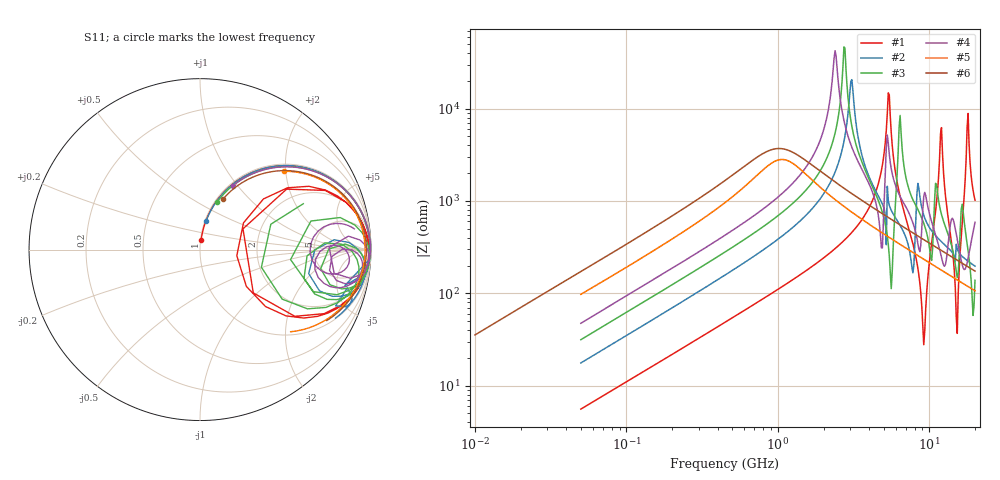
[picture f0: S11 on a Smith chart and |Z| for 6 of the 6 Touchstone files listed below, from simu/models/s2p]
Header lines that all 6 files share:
!These Parameters are Measured in Series Mode Connection
!  o--[Z]--o
!Port1  Port2
!  o-------o
# Hz S RI R 50
!Freq.(Hz) S11(Real) S11(Imag) S21(Real) S21(Imag) S12(Real) S12(Imag) S22(Real) S22(Imag)
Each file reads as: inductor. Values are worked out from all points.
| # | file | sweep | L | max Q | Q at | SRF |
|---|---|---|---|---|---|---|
| 1 | LQW18AN18NG00.s2p | 50 MHz to 20 GHz | 17.6 nH | 56.5 | 1.127 GHz | 5.353 GHz |
| 2 | LQW18AN56NG80.s2p | 50 MHz to 20 GHz | 55.8 nH | 66.4 | 438.7 MHz | 3.03 GHz |
| 3 | LQW18ANR10J00.s2p | 50 MHz to 20 GHz | 99.6 nH | 48.9 | 583.2 MHz | 2.728 GHz |
| 4 | LQW18ANR15G00.s2p | 50 MHz to 20 GHz | 150 nH | 62.2 | 628.6 MHz | 2.384 GHz |
| 5 | LQW18CAR33J00.s2p | 50 MHz to 20 GHz | 305 nH | 11.5 | 51.52 MHz | 1.062 GHz |
| 6 | LQW18CNR56J00.s2p | 10 MHz to 20 GHz | 560 nH | 12.8 | 23.07 MHz | 1.016 GHz |
